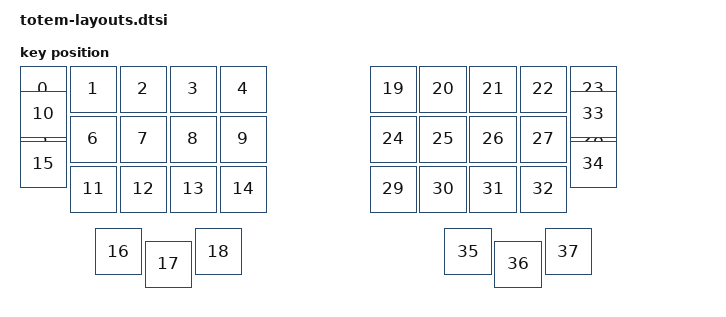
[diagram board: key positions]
#include <physical_layouts.dtsi>

/ {
    totem_physical_layout: totem_physical_layout {
        compatible = "zmk,physical-layout";
        display-name = "Default";

        //                           w    h     x     y   rot   rx    ry
        keys
            /* ROW0_L: top row */
            = <&key_physical_attrs  100  100     0     0       0    0    0>  /* SWL1  COL0 */
            , <&key_physical_attrs  100  100   100     0       0    0    0>  /* SWL2  COL1 */
            , <&key_physical_attrs  100  100   200     0       0    0    0>  /* SWL3  COL2 */
            , <&key_physical_attrs  100  100   300     0       0    0    0>  /* SWL4  COL3 */
            , <&key_physical_attrs  100  100   400     0       0    0    0>  /* SWL5  COL4 */

            /* ROW1_L: home row */
            , <&key_physical_attrs  100  100     0   100       0    0    0>  /* SWL6  COL0 */
            , <&key_physical_attrs  100  100   100   100       0    0    0>  /* SWL7  COL1 */
            , <&key_physical_attrs  100  100   200   100       0    0    0>  /* SWL8  COL2 */
            , <&key_physical_attrs  100  100   300   100       0    0    0>  /* SWL9  COL3 */
            , <&key_physical_attrs  100  100   400   100       0    0    0>  /* SWL10 COL4 */

            /* ROW2_L: COL0=raised pinky, COL1-COL4=bottom row */
            , <&key_physical_attrs  100  100     0    50       0    0    0>  /* SWL11 COL0 pinky */
            , <&key_physical_attrs  100  100   100   200       0    0    0>  /* SWL12 COL1 */
            , <&key_physical_attrs  100  100   200   200       0    0    0>  /* SWL13 COL2 */
            , <&key_physical_attrs  100  100   300   200       0    0    0>  /* SWL14 COL3 */
            , <&key_physical_attrs  100  100   400   200       0    0    0>  /* SWL15 COL4 */

            /* ROW3_L: COL0=below pinky, COL1-COL3=thumbs */
            , <&key_physical_attrs  100  100     0   150       0    0    0>  /* SWL16 COL0 below pinky */
            , <&key_physical_attrs  100  100   150   325       0    0    0>  /* SWL17 COL1 thumb */
            , <&key_physical_attrs  100  100   250   350       0    0    0>  /* SWL18 COL2 thumb */
            , <&key_physical_attrs  100  100   350   325       0    0    0>  /* SWL19 COL3 thumb */

            /* ROW0_R: top row right */
            , <&key_physical_attrs  100  100   700     0       0    0    0>  /* SWR5  COL4 */
            , <&key_physical_attrs  100  100   800     0       0    0    0>  /* SWR4  COL3 */
            , <&key_physical_attrs  100  100   900     0       0    0    0>  /* SWR3  COL2 */
            , <&key_physical_attrs  100  100  1000     0       0    0    0>  /* SWR2  COL1 */
            , <&key_physical_attrs  100  100  1100     0       0    0    0>  /* SWR1  COL0 */

            /* ROW1_R: home row right */
            , <&key_physical_attrs  100  100   700   100       0    0    0>  /* SWR10 COL4 */
            , <&key_physical_attrs  100  100   800   100       0    0    0>  /* SWR9  COL3 */
            , <&key_physical_attrs  100  100   900   100       0    0    0>  /* SWR8  COL2 */
            , <&key_physical_attrs  100  100  1000   100       0    0    0>  /* SWR7  COL1 */
            , <&key_physical_attrs  100  100  1100   100       0    0    0>  /* SWR6  COL0 */

            /* ROW2_R: COL0=raised pinky, COL1-COL4=bottom row */
            , <&key_physical_attrs  100  100   700   200       0    0    0>  /* SWR15 COL4 */
            , <&key_physical_attrs  100  100   800   200       0    0    0>  /* SWR14 COL3 */
            , <&key_physical_attrs  100  100   900   200       0    0    0>  /* SWR13 COL2 */
            , <&key_physical_attrs  100  100  1000   200       0    0    0>  /* SWR12 COL1 */
            , <&key_physical_attrs  100  100  1100    50       0    0    0>  /* SWR11 COL0 pinky */

            /* ROW3_R: COL0=below pinky, COL1-COL3=thumbs */
            , <&key_physical_attrs  100  100  1100   150       0    0    0>  /* SWR16 COL0 below pinky */
            , <&key_physical_attrs  100  100   850   325       0    0    0>  /* SWR17 COL3 thumb */
            , <&key_physical_attrs  100  100   950   350       0    0    0>  /* SWR18 COL2 thumb */
            , <&key_physical_attrs  100  100  1050   325       0    0    0>  /* SWR19 COL1 thumb */
            ;
    };
};
